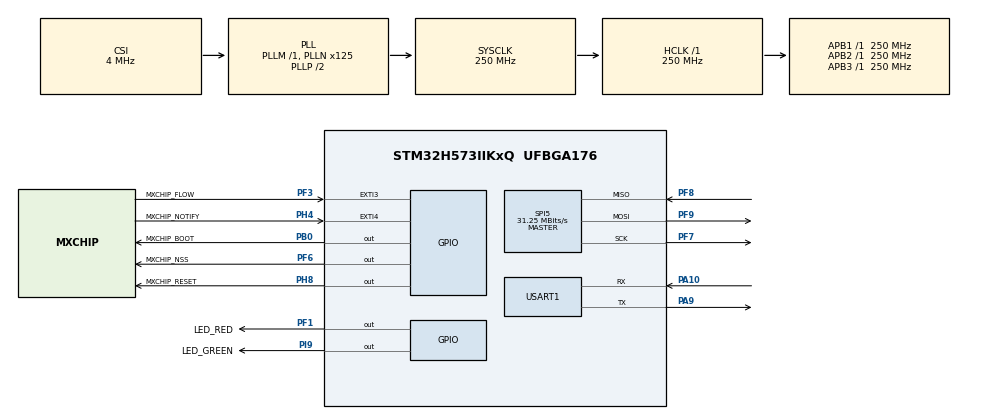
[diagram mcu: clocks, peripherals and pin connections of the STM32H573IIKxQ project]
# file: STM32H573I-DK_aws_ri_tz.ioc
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CORTEX_M33_NS.userName=CORTEX_M33
GPDMA1.DESTINC_GPDMACH4=DMA_DINC_INCREMENTED
GPDMA1.DIRECTION_GPDMACH5=DMA_MEMORY_TO_PERIPH
GPDMA1.IPHANDLE_GPDMACH4-SIMPLEREQUEST_GPDMACH4=__NULL
GPDMA1.IPHANDLE_GPDMACH5-SIMPLEREQUEST_GPDMACH5=__NULL
GPDMA1.PRIORITY_GPDMACH4=DMA_LOW_PRIORITY_HIGH_WEIGHT
GPDMA1.PRIORITY_GPDMACH5=DMA_LOW_PRIORITY_HIGH_WEIGHT
GPDMA1.REQUEST_GPDMACH4=GPDMA1_REQUEST_SPI5_RX
GPDMA1.REQUEST_GPDMACH5=GPDMA1_REQUEST_SPI5_TX
GPDMA1.SRCINC_GPDMACH5=DMA_SINC_INCREMENTED
GPDMA1.TRANSFERALLOCATEDPORTDEST_GPDMACH4=DMA_DEST_ALLOCATED_PORT1
GPDMA1.TRANSFERALLOCATEDPORTDEST_GPDMACH5=DMA_DEST_ALLOCATED_PORT1
IWDG.Prescaler=IWDG_PRESCALER_1024
IWDG.Reload=320
IWDG.Window=0xfff
Mcu.Family=STM32H5
Mcu.Name=STM32H573IIKxQ
Mcu.Package=UFBGA176
NVIC.EXTI3_IRQn=true\:5\:0\:true\:false\:true\:true\:true\:true
NVIC.EXTI4_IRQn=true\:5\:0\:true\:false\:true\:true\:true\:true
NVIC.GPDMA1_Channel4_IRQn=true\:5\:0\:true\:false\:true\:false\:true\:true
NVIC.GPDMA1_Channel5_IRQn=true\:5\:0\:true\:false\:true\:false\:true\:true
NVIC.PriorityGroup=NVIC_PRIORITYGROUP_4
NVIC.SPI5_IRQn=true\:5\:0\:true\:false\:true\:true\:true\:true
NVIC.USART1_IRQn=true\:5\:0\:true\:false\:true\:true\:true\:true
PA10.Mode=Asynchronous
PA10.Signal=USART1_RX
PA9.Mode=Asynchronous
PA9.Signal=USART1_TX
PB0.GPIO_Label=MXCHIP_BOOT
PB0.PinState=GPIO_PIN_SET
PB0.Signal=GPIO_Output
PB2.Signal=OCTOSPI1_DQS
PC0.Signal=OCTOSPI1_IO7
PC14-OSC32_IN(OSC32_IN).Mode=LSE-External-Oscillator
PC14-OSC32_IN(OSC32_IN).Signal=RCC_OSC32_IN
PC15-OSC32_OUT(OSC32_OUT).Mode=LSE-External-Oscillator
PC15-OSC32_OUT(OSC32_OUT).Signal=RCC_OSC32_OUT
PC2.Signal=OCTOSPI1_IO2
PD11.Signal=OCTOSPI1_IO0
PD12.Signal=OCTOSPI1_IO1
PD13.Signal=OCTOSPI1_IO3
PF1.GPIO_Label=LED_RED
PF1.GPIO_Speed=GPIO_SPEED_FREQ_HIGH
PF1.Signal=GPIO_Output
PF10.Signal=OCTOSPI1_CLK
PF3.GPIO_Label=MXCHIP_FLOW
PF3.Signal=GPXTI3
PF6.GPIO_Label=MXCHIP_NSS
PF6.GPIO_Speed=GPIO_SPEED_FREQ_HIGH
PF6.PinState=GPIO_PIN_SET
PF6.Signal=GPIO_Output
PF7.GPIO_Speed=GPIO_SPEED_FREQ_HIGH
PF7.Mode=Full_Duplex_Master
PF7.Signal=SPI5_SCK
PF8.GPIO_Speed=GPIO_SPEED_FREQ_HIGH
PF8.Mode=Full_Duplex_Master
PF8.Signal=SPI5_MISO
PF9.GPIO_Speed=GPIO_SPEED_FREQ_HIGH
PF9.Mode=Full_Duplex_Master
PF9.Signal=SPI5_MOSI
PG6.GPIO_PuPd=GPIO_PULLUP
PG6.Signal=OCTOSPI1_NCS
PG9.Signal=OCTOSPI1_IO6
PH2.Signal=OCTOSPI1_IO4
PH3.Signal=OCTOSPI1_IO5
PH4.GPIO_Label=MXCHIP_NOTIFY
PH4.Signal=GPXTI4
PH8.GPIO_Label=MXCHIP_RESET
PH8.PinState=GPIO_PIN_SET
PH8.Signal=GPIO_Output
PI9.GPIO_Label=LED_GREEN
PI9.GPIO_Speed=GPIO_SPEED_FREQ_HIGH
PI9.Signal=GPIO_Output
ProjectManager.HeapSize=0x2000
ProjectManager.StackSize=0x2000
ProjectManager.TargetToolchain=STM32CubeIDE
RCC.ADCFreq_Value=250000000
RCC.AHBFreq_Value=250000000
RCC.APB1Freq_Value=250000000
RCC.APB1TimFreq_Value=250000000
RCC.APB2Freq_Value=250000000
RCC.APB2TimFreq_Value=250000000
RCC.APB3Freq_Value=250000000
RCC.CSI_VALUE=4000000
RCC.CortexFreq_Value=250000000
RCC.EPOD_VALUE=4000000
RCC.HCLKFreq_Value=250000000
RCC.HSE_VALUE=25000000
RCC.HSI48_VALUE=48000000
RCC.HSIDiv=RCC_HSI_DIV1
RCC.HSI_VALUE=64000000
RCC.LSIRC_VALUE=32000
RCC.OCTOSPIMCLockSelection=RCC_OSPICLKSOURCE_PLL2R
RCC.PLL2M=8
RCC.PLL2N=60
RCC.PLL2R=3
RCC.PLLN=125
RCC.SYSCLKFreq_VALUE=250000000
RCC.SYSCLKSource=RCC_SYSCLKSOURCE_PLLCLK
RCC.USBFreq_Value=48000000
RCC.VCOOutputFreq_Value=500000000
SPI5.BaudRatePrescaler=SPI_BAUDRATEPRESCALER_8
SPI5.CalculateBaudRate=31.25 MBits/s
SPI5.DataSize=SPI_DATASIZE_8BIT
SPI5.Direction=SPI_DIRECTION_2LINES
SPI5.Mode=SPI_MODE_MASTER
SPI5.NSSPMode=SPI_NSS_PULSE_DISABLE
SPI5.VirtualType=VM_MASTER
TIM5.PeriodNoDither=0xffffffff
TIM5.Prescaler=4096
USART1.FIFOMode=FIFOMODE_ENABLE
USART1.RXFIFOThreshold=RXFIFO_THRESHOLD_FULL
USART1.TXFIFOThreshold=TXFIFO_THRESHOLD_EMPTY
USART1.VirtualMode=VM_ASYNC
VP_GPDMA1_VS_GPDMACH4.Mode=SIMPLEREQUEST_GPDMACH4
VP_GPDMA1_VS_GPDMACH5.Mode=SIMPLEREQUEST_GPDMACH5
VP_ICACHE_VS_ICACHE.Mode=DirectMappedCache
VP_IWDG_VS_IWDG.Mode=IWDG_Activate
VP_PWR_VS_SECSignals.Mode=Security/Privilege
VP_RNG_VS_RNG.Mode=RNG_Activate
VP_TIM5_VS_ClockSourceINT.Mode=Internal
board=custom

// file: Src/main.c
/* USER CODE BEGIN Header */
/**
  ******************************************************************************
  * @file           : main.c
  * @brief          : Main program body
  ******************************************************************************
  * @attention
  *
  * Copyright (c) 2022 STMicroelectronics.
  * All rights reserved.
  *
  * This software is licensed under terms that can be found in the LICENSE file
  * in the root directory of this software component.
  * If no LICENSE file comes with this software, it is provided AS-IS.
  *
  ******************************************************************************
  */
/* USER CODE END Header */
#include "main.h"

/* USER CODE BEGIN Includes */
#include "FreeRTOS.h"
#include "task.h"
#include "stdlib.h"
/* USER CODE END Includes */

IWDG_HandleTypeDef hiwdg;

SPI_HandleTypeDef hspi5;
DMA_HandleTypeDef handle_GPDMA1_Channel5;
DMA_HandleTypeDef handle_GPDMA1_Channel4;

TIM_HandleTypeDef htim5;

UART_HandleTypeDef huart1;

/* USER CODE BEGIN PV */
const IotMappedPin_t xGpioMap[ GPIO_MAX ] =
{
    { MXCHIP_FLOW_GPIO_Port, MXCHIP_FLOW_Pin 		  }, /* GPIO_MX_FLOW     */
    { MXCHIP_RESET_GPIO_Port, MXCHIP_RESET_Pin		}, /* GPIO_MX_RESET    */
    { MXCHIP_NSS_GPIO_Port, MXCHIP_NSS_Pin      	}, /* GPIO_MX_NSS      */
    { MXCHIP_NOTIFY_GPIO_Port, MXCHIP_NOTIFY_Pin 	}, /* GPIO_MX_NOTIFY   */
    { LED_RED_GPIO_Port, LED_RED_Pin            	}, /* GPIO_LED_RED     */
    { LED_GREEN_GPIO_Port, LED_GREEN_Pin        	}  /* GPIO_LED_GREEN   */
};
/* USER CODE END PV */

void SystemClock_Config(void);
static void MX_GPDMA1_Init(void);

void SystemClock_Config(void)
{
  RCC_OscInitTypeDef RCC_OscInitStruct = {0};
  RCC_ClkInitTypeDef RCC_ClkInitStruct = {0};

  /** Configure the main internal regulator output voltage
  */
  __HAL_PWR_VOLTAGESCALING_CONFIG(PWR_REGULATOR_VOLTAGE_SCALE0);

  while(!__HAL_PWR_GET_FLAG(PWR_FLAG_VOSRDY)) {}

  /** Initializes the RCC Oscillators according to the specified parameters
  * in the RCC_OscInitTypeDef structure.
  */
  RCC_OscInitStruct.OscillatorType = RCC_OSCILLATORTYPE_HSI48|RCC_OSCILLATORTYPE_LSI
                              |RCC_OSCILLATORTYPE_CSI;
  RCC_OscInitStruct.LSIState = RCC_LSI_ON;
  RCC_OscInitStruct.HSI48State = RCC_HSI48_ON;
  RCC_OscInitStruct.CSIState = RCC_CSI_ON;
  RCC_OscInitStruct.CSICalibrationValue = RCC_CSICALIBRATION_DEFAULT;
  RCC_OscInitStruct.PLL.PLLState = RCC_PLL_ON;
  RCC_OscInitStruct.PLL.PLLSource = RCC_PLL1_SOURCE_CSI;
  RCC_OscInitStruct.PLL.PLLM = 1;
  RCC_OscInitStruct.PLL.PLLN = 125;
  RCC_OscInitStruct.PLL.PLLP = 2;
  RCC_OscInitStruct.PLL.PLLQ = 2;
  RCC_OscInitStruct.PLL.PLLR = 2;
  RCC_OscInitStruct.PLL.PLLRGE = RCC_PLL1_VCIRANGE_2;
  RCC_OscInitStruct.PLL.PLLVCOSEL = RCC_PLL1_VCORANGE_WIDE;
  RCC_OscInitStruct.PLL.PLLFRACN = 0;
  if (HAL_RCC_OscConfig(&RCC_OscInitStruct) != HAL_OK)
  {
    Error_Handler();
  }

  /** Initializes the CPU, AHB and APB buses clocks
  */
  RCC_ClkInitStruct.ClockType = RCC_CLOCKTYPE_HCLK|RCC_CLOCKTYPE_SYSCLK
                              |RCC_CLOCKTYPE_PCLK1|RCC_CLOCKTYPE_PCLK2
                              |RCC_CLOCKTYPE_PCLK3;
  RCC_ClkInitStruct.SYSCLKSource = RCC_SYSCLKSOURCE_PLLCLK;
  RCC_ClkInitStruct.AHBCLKDivider = RCC_SYSCLK_DIV1;
  RCC_ClkInitStruct.APB1CLKDivider = RCC_HCLK_DIV1;
  RCC_ClkInitStruct.APB2CLKDivider = RCC_HCLK_DIV1;
  RCC_ClkInitStruct.APB3CLKDivider = RCC_HCLK_DIV1;

  if (HAL_RCC_ClockConfig(&RCC_ClkInitStruct, FLASH_LATENCY_5) != HAL_OK)
  {
    Error_Handler();
  }
}

static void MX_GPDMA1_Init(void)
{

  /* Peripheral clock enable */
  __HAL_RCC_GPDMA1_CLK_ENABLE();

  /* GPDMA1 interrupt Init */
    HAL_NVIC_SetPriority(GPDMA1_Channel4_IRQn, 5, 0);
    HAL_NVIC_EnableIRQ(GPDMA1_Channel4_IRQn);
    HAL_NVIC_SetPriority(GPDMA1_Channel5_IRQn, 5, 0);
    HAL_NVIC_EnableIRQ(GPDMA1_Channel5_IRQn);

}

void MX_ICACHE_Init(void)
{

  /** Enable instruction cache in 1-way (direct mapped cache)
  */
  if (HAL_ICACHE_ConfigAssociativityMode(ICACHE_1WAY) != HAL_OK)
  {
    Error_Handler();
  }
  if (HAL_ICACHE_Enable() != HAL_OK)
  {
    Error_Handler();
  }

}

void MX_IWDG_Init(void)
{

  hiwdg.Instance = IWDG;
  hiwdg.Init.Prescaler = IWDG_PRESCALER_1024;
  hiwdg.Init.Window = 0xfff;
  hiwdg.Init.Reload = 320;
  hiwdg.Init.EWI = 0;
  if (HAL_IWDG_Init(&hiwdg) != HAL_OK)
  {
    Error_Handler();
  }

}

void MX_SPI5_Init(void)
{

  /* SPI5 parameter configuration*/
  hspi5.Instance = SPI5;
  hspi5.Init.Mode = SPI_MODE_MASTER;
  hspi5.Init.Direction = SPI_DIRECTION_2LINES;
  hspi5.Init.DataSize = SPI_DATASIZE_8BIT;
  hspi5.Init.CLKPolarity = SPI_POLARITY_LOW;
  hspi5.Init.CLKPhase = SPI_PHASE_1EDGE;
  hspi5.Init.NSS = SPI_NSS_SOFT;
  hspi5.Init.BaudRatePrescaler = SPI_BAUDRATEPRESCALER_8;
  hspi5.Init.FirstBit = SPI_FIRSTBIT_MSB;
  hspi5.Init.TIMode = SPI_TIMODE_DISABLE;
  hspi5.Init.CRCCalculation = SPI_CRCCALCULATION_DISABLE;
  hspi5.Init.CRCPolynomial = 0x7;
  hspi5.Init.NSSPMode = SPI_NSS_PULSE_DISABLE;
  hspi5.Init.NSSPolarity = SPI_NSS_POLARITY_LOW;
  hspi5.Init.FifoThreshold = SPI_FIFO_THRESHOLD_01DATA;
  hspi5.Init.MasterSSIdleness = SPI_MASTER_SS_IDLENESS_00CYCLE;
  hspi5.Init.MasterInterDataIdleness = SPI_MASTER_INTERDATA_IDLENESS_00CYCLE;
  hspi5.Init.MasterReceiverAutoSusp = SPI_MASTER_RX_AUTOSUSP_DISABLE;
  hspi5.Init.MasterKeepIOState = SPI_MASTER_KEEP_IO_STATE_DISABLE;
  hspi5.Init.IOSwap = SPI_IO_SWAP_DISABLE;
  hspi5.Init.ReadyMasterManagement = SPI_RDY_MASTER_MANAGEMENT_INTERNALLY;
  hspi5.Init.ReadyPolarity = SPI_RDY_POLARITY_HIGH;
  if (HAL_SPI_Init(&hspi5) != HAL_OK)
  {
    Error_Handler();
  }

}

void MX_TIM5_Init(void)
{

  TIM_ClockConfigTypeDef sClockSourceConfig = {0};
  TIM_MasterConfigTypeDef sMasterConfig = {0};

  htim5.Instance = TIM5;
  htim5.Init.Prescaler = 4096;
  htim5.Init.CounterMode = TIM_COUNTERMODE_UP;
  htim5.Init.Period = 4.294967295E9;
  htim5.Init.ClockDivision = TIM_CLOCKDIVISION_DIV1;
  htim5.Init.AutoReloadPreload = TIM_AUTORELOAD_PRELOAD_DISABLE;
  if (HAL_TIM_Base_Init(&htim5) != HAL_OK)
  {
    Error_Handler();
  }
  sClockSourceConfig.ClockSource = TIM_CLOCKSOURCE_INTERNAL;
  if (HAL_TIM_ConfigClockSource(&htim5, &sClockSourceConfig) != HAL_OK)
  {
    Error_Handler();
  }
  sMasterConfig.MasterOutputTrigger = TIM_TRGO_RESET;
  sMasterConfig.MasterSlaveMode = TIM_MASTERSLAVEMODE_DISABLE;
  if (HAL_TIMEx_MasterConfigSynchronization(&htim5, &sMasterConfig) != HAL_OK)
  {
    Error_Handler();
  }
  /* USER CODE BEGIN TIM5_Init 2 */
  if (HAL_TIM_Base_Start( &htim5 )!= HAL_OK)
  {
    Error_Handler();
  }
  /* USER CODE END TIM5_Init 2 */

}

void MX_USART1_UART_Init(void)
{

  huart1.Instance = USART1;
  huart1.Init.BaudRate = 115200;
  huart1.Init.WordLength = UART_WORDLENGTH_8B;
  huart1.Init.StopBits = UART_STOPBITS_1;
  huart1.Init.Parity = UART_PARITY_NONE;
  huart1.Init.Mode = UART_MODE_TX_RX;
  huart1.Init.HwFlowCtl = UART_HWCONTROL_NONE;
  huart1.Init.OverSampling = UART_OVERSAMPLING_16;
  huart1.Init.OneBitSampling = UART_ONE_BIT_SAMPLE_DISABLE;
  huart1.Init.ClockPrescaler = UART_PRESCALER_DIV1;
  huart1.AdvancedInit.AdvFeatureInit = UART_ADVFEATURE_NO_INIT;
  if (HAL_UART_Init(&huart1) != HAL_OK)
  {
    Error_Handler();
  }
  if (HAL_UARTEx_SetTxFifoThreshold(&huart1, UART_TXFIFO_THRESHOLD_8_8) != HAL_OK)
  {
    Error_Handler();
  }
  if (HAL_UARTEx_SetRxFifoThreshold(&huart1, UART_RXFIFO_THRESHOLD_8_8) != HAL_OK)
  {
    Error_Handler();
  }
  if (HAL_UARTEx_EnableFifoMode(&huart1) != HAL_OK)
  {
    Error_Handler();
  }

}

void MX_GPIO_Init(void)
{
  GPIO_InitTypeDef GPIO_InitStruct = {0};

  /* GPIO Ports Clock Enable */
  __HAL_RCC_GPIOG_CLK_ENABLE();
  __HAL_RCC_GPIOC_CLK_ENABLE();
  __HAL_RCC_GPIOI_CLK_ENABLE();
  __HAL_RCC_GPIOA_CLK_ENABLE();
  __HAL_RCC_GPIOF_CLK_ENABLE();
  __HAL_RCC_GPIOD_CLK_ENABLE();
  __HAL_RCC_GPIOH_CLK_ENABLE();
  __HAL_RCC_GPIOB_CLK_ENABLE();

  /*Configure GPIO pin Output Level */
  HAL_GPIO_WritePin(LED_GREEN_GPIO_Port, LED_GREEN_Pin, GPIO_PIN_RESET);

  /*Configure GPIO pin Output Level */
  HAL_GPIO_WritePin(LED_RED_GPIO_Port, LED_RED_Pin, GPIO_PIN_RESET);

  /*Configure GPIO pin Output Level */
  HAL_GPIO_WritePin(MXCHIP_NSS_GPIO_Port, MXCHIP_NSS_Pin, GPIO_PIN_SET);

  /*Configure GPIO pin Output Level */
  HAL_GPIO_WritePin(MXCHIP_RESET_GPIO_Port, MXCHIP_RESET_Pin, GPIO_PIN_SET);

  /*Configure GPIO pin Output Level */
  HAL_GPIO_WritePin(MXCHIP_BOOT_GPIO_Port, MXCHIP_BOOT_Pin, GPIO_PIN_SET);

  /*Configure GPIO pin : PG9 */
  GPIO_InitStruct.Pin = GPIO_PIN_9;
  GPIO_InitStruct.Mode = GPIO_MODE_AF_PP;
  GPIO_InitStruct.Pull = GPIO_NOPULL;
  GPIO_InitStruct.Speed = GPIO_SPEED_FREQ_VERY_HIGH;
  GPIO_InitStruct.Alternate = GPIO_AF9_OCTOSPI1;
  HAL_GPIO_Init(GPIOG, &GPIO_InitStruct);

  /*Configure GPIO pin : LED_GREEN_Pin */
  GPIO_InitStruct.Pin = LED_GREEN_Pin;
  GPIO_InitStruct.Mode = GPIO_MODE_OUTPUT_PP;
  GPIO_InitStruct.Pull = GPIO_NOPULL;
  GPIO_InitStruct.Speed = GPIO_SPEED_FREQ_HIGH;
  HAL_GPIO_Init(LED_GREEN_GPIO_Port, &GPIO_InitStruct);

  /*Configure GPIO pins : LED_RED_Pin MXCHIP_NSS_Pin */
  GPIO_InitStruct.Pin = LED_RED_Pin|MXCHIP_NSS_Pin;
  GPIO_InitStruct.Mode = GPIO_MODE_OUTPUT_PP;
  GPIO_InitStruct.Pull = GPIO_NOPULL;
  GPIO_InitStruct.Speed = GPIO_SPEED_FREQ_HIGH;
  HAL_GPIO_Init(GPIOF, &GPIO_InitStruct);

  /*Configure GPIO pin : MXCHIP_FLOW_Pin */
  GPIO_InitStruct.Pin = MXCHIP_FLOW_Pin;
  GPIO_InitStruct.Mode = GPIO_MODE_IT_RISING;
  GPIO_InitStruct.Pull = GPIO_NOPULL;
  HAL_GPIO_Init(MXCHIP_FLOW_GPIO_Port, &GPIO_InitStruct);

  /*Configure GPIO pin : PF10 */
  GPIO_InitStruct.Pin = GPIO_PIN_10;
  GPIO_InitStruct.Mode = GPIO_MODE_AF_PP;
  GPIO_InitStruct.Pull = GPIO_NOPULL;
  GPIO_InitStruct.Speed = GPIO_SPEED_FREQ_VERY_HIGH;
  GPIO_InitStruct.Alternate = GPIO_AF9_OCTOSPI1;
  HAL_GPIO_Init(GPIOF, &GPIO_InitStruct);

  /*Configure GPIO pin : PG6 */
  GPIO_InitStruct.Pin = GPIO_PIN_6;
  GPIO_InitStruct.Mode = GPIO_MODE_AF_PP;
  GPIO_InitStruct.Pull = GPIO_PULLUP;
  GPIO_InitStruct.Speed = GPIO_SPEED_FREQ_VERY_HIGH;
  GPIO_InitStruct.Alternate = GPIO_AF10_OCTOSPI1;
  HAL_GPIO_Init(GPIOG, &GPIO_InitStruct);

  /*Configure GPIO pin : PC2 */
  GPIO_InitStruct.Pin = GPIO_PIN_2;
  GPIO_InitStruct.Mode = GPIO_MODE_AF_PP;
  GPIO_InitStruct.Pull = GPIO_NOPULL;
  GPIO_InitStruct.Speed = GPIO_SPEED_FREQ_VERY_HIGH;
  GPIO_InitStruct.Alternate = GPIO_AF9_OCTOSPI1;
  HAL_GPIO_Init(GPIOC, &GPIO_InitStruct);

  /*Configure GPIO pins : PD12 PD11 PD13 */
  GPIO_InitStruct.Pin = GPIO_PIN_12|GPIO_PIN_11|GPIO_PIN_13;
  GPIO_InitStruct.Mode = GPIO_MODE_AF_PP;
  GPIO_InitStruct.Pull = GPIO_NOPULL;
  GPIO_InitStruct.Speed = GPIO_SPEED_FREQ_VERY_HIGH;
  GPIO_InitStruct.Alternate = GPIO_AF9_OCTOSPI1;
  HAL_GPIO_Init(GPIOD, &GPIO_InitStruct);

  /*Configure GPIO pin : PC0 */
  GPIO_InitStruct.Pin = GPIO_PIN_0;
  GPIO_InitStruct.Mode = GPIO_MODE_AF_PP;
  GPIO_InitStruct.Pull = GPIO_NOPULL;
  GPIO_InitStruct.Speed = GPIO_SPEED_FREQ_VERY_HIGH;
  GPIO_InitStruct.Alternate = GPIO_AF10_OCTOSPI1;
  HAL_GPIO_Init(GPIOC, &GPIO_InitStruct);

  /*Configure GPIO pin : MXCHIP_RESET_Pin */
  GPIO_InitStruct.Pin = MXCHIP_RESET_Pin;
  GPIO_InitStruct.Mode = GPIO_MODE_OUTPUT_PP;
  GPIO_InitStruct.Pull = GPIO_NOPULL;
  GPIO_InitStruct.Speed = GPIO_SPEED_FREQ_LOW;
  HAL_GPIO_Init(MXCHIP_RESET_GPIO_Port, &GPIO_InitStruct);

  /*Configure GPIO pins : PH3 PH2 */
  GPIO_InitStruct.Pin = GPIO_PIN_3|GPIO_PIN_2;
  GPIO_InitStruct.Mode = GPIO_MODE_AF_PP;
  GPIO_InitStruct.Pull = GPIO_NOPULL;
  GPIO_InitStruct.Speed = GPIO_SPEED_FREQ_VERY_HIGH;
  GPIO_InitStruct.Alternate = GPIO_AF9_OCTOSPI1;
  HAL_GPIO_Init(GPIOH, &GPIO_InitStruct);

  /*Configure GPIO pin : PB2 */
  GPIO_InitStruct.Pin = GPIO_PIN_2;
  GPIO_InitStruct.Mode = GPIO_MODE_AF_PP;
  GPIO_InitStruct.Pull = GPIO_NOPULL;
  GPIO_InitStruct.Speed = GPIO_SPEED_FREQ_VERY_HIGH;
  GPIO_InitStruct.Alternate = GPIO_AF10_OCTOSPI1;
  HAL_GPIO_Init(GPIOB, &GPIO_InitStruct);

  /*Configure GPIO pin : MXCHIP_NOTIFY_Pin */
  GPIO_InitStruct.Pin = MXCHIP_NOTIFY_Pin;
  GPIO_InitStruct.Mode = GPIO_MODE_IT_RISING;
  GPIO_InitStruct.Pull = GPIO_NOPULL;
  HAL_GPIO_Init(MXCHIP_NOTIFY_GPIO_Port, &GPIO_InitStruct);

  /*Configure GPIO pin : MXCHIP_BOOT_Pin */
  GPIO_InitStruct.Pin = MXCHIP_BOOT_Pin;
  GPIO_InitStruct.Mode = GPIO_MODE_OUTPUT_PP;
  GPIO_InitStruct.Pull = GPIO_NOPULL;
  GPIO_InitStruct.Speed = GPIO_SPEED_FREQ_LOW;
  HAL_GPIO_Init(MXCHIP_BOOT_GPIO_Port, &GPIO_InitStruct);

  /* EXTI interrupt init*/
  HAL_NVIC_SetPriority(EXTI3_IRQn, 5, 0);
  HAL_NVIC_EnableIRQ(EXTI3_IRQn);

  HAL_NVIC_SetPriority(EXTI4_IRQn, 5, 0);
  HAL_NVIC_EnableIRQ(EXTI4_IRQn);

}

/* USER CODE BEGIN 4 */
void hw_init( void )
{
  /* Reset of all peripherals, Initializes the Flash interface and the Systick. */
  HAL_Init();

  /* Clear the residual clock configuration left by the bootloader. */
  if (HAL_RCC_DeInit() != HAL_OK)
  {
    Error_Handler();
  }

  /* Configure the system clock */
  SystemClock_Config();
  /* Initialize all configured peripherals */
  MX_GPIO_Init();
  MX_GPDMA1_Init();
  MX_ICACHE_Init();
  MX_TIM5_Init();
  MX_USART1_UART_Init();
  MX_SPI5_Init();
  //MX_IWDG_Init();

  /* Initialize uart for logging before cli is up and running */
  vInitLoggingEarly();
}

/* Override HAL Tick weak functions */
HAL_StatusTypeDef HAL_InitTick( uint32_t TickPriority )
{
    ( void ) SysTick_Config( SystemCoreClock / 1000 );
    HAL_NVIC_SetPriority(SysTick_IRQn, TickPriority, 0U);
    return HAL_OK;
}

void HAL_Delay( uint32_t ulDelayMs )
{
    if( xTaskGetSchedulerState() != taskSCHEDULER_NOT_STARTED )
    {
        vTaskDelay( pdMS_TO_TICKS( ulDelayMs ) );
    }
    else
    {
        uint32_t ulStartTick = HAL_GetTick();
        uint32_t ulTicksWaited = ulDelayMs;

        /* Add a freq to guarantee minimum wait */
        if( ulTicksWaited < HAL_MAX_DELAY )
        {
            ulTicksWaited += ( uint32_t ) ( HAL_GetTickFreq() );
        }

        while( ( HAL_GetTick() - ulStartTick ) < ulTicksWaited )
        {
            __NOP();
        }
    }
}

/* USER CODE END 4 */

void Error_Handler(void)
{
  __disable_irq();
  while (1)
  {
  }
}
